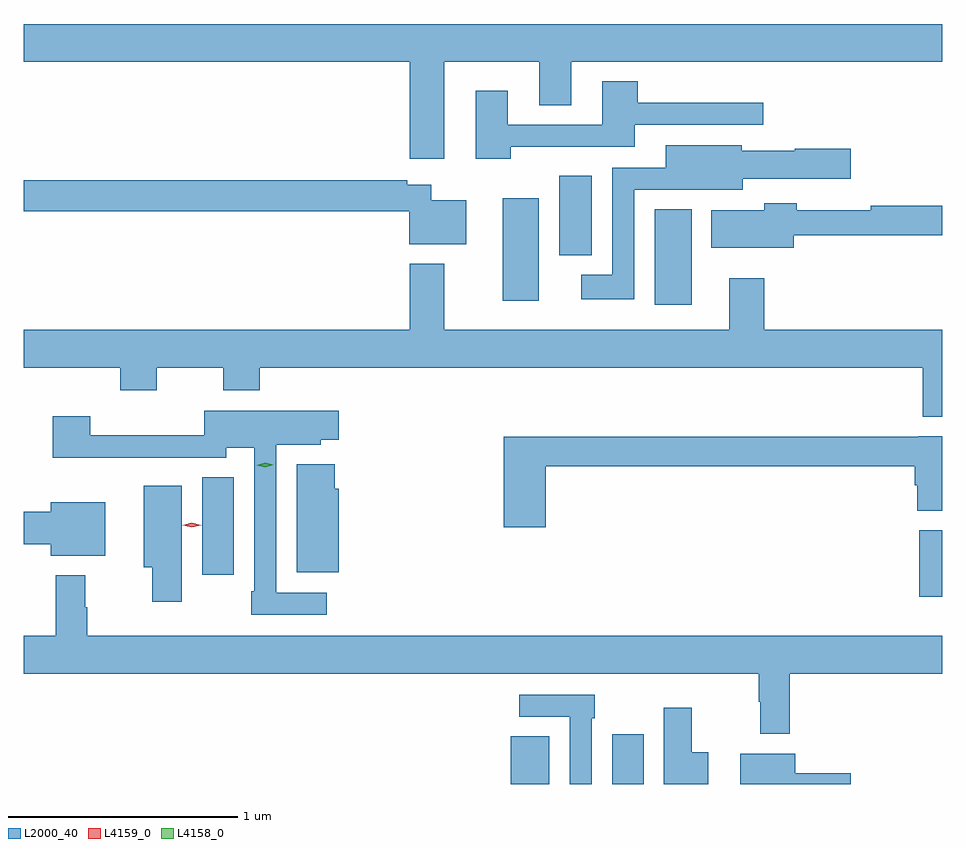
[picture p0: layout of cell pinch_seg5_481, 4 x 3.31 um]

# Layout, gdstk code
import gdstk
lib = gdstk.Library(unit=1e-6, precision=1e-09)
def R(c, l, rs):  # rectangles x0, y0, x1, y1
    for r in rs: c.add(gdstk.rectangle(r[:2], r[2:], *l))
def P(c, l, *ps):  # polygons
    for p in ps: c.add(gdstk.Polygon(p, *l))
L2000_40 = (2000, 40)
L4158_0 = (4158, 0)
L4159_0 = (4159, 0)

pinch_seg5_481 = lib.new_cell('pinch_seg5_481')
R(pinch_seg5_481, L2000_40, [(891.746,841.627,891.913,841.835), (892.187,841.627,892.324,841.843), (893.525,842.442,893.625,842.731), (890.402,842.538,890.539,842.963), (892.373,843.714,892.534,844.129), (891.71,843.732,891.868,844.177), (891.956,843.929,892.099,844.276)])
P(pinch_seg5_481, L2000_40, [(891.457,844.772),(891.869,844.772),(891.869,844.582),(892.009,844.582),(892.009,844.772),(893.625,844.772),(893.625,844.936),(889.625,844.936),(889.625,844.772),(891.305,844.772),(891.305,844.35),(891.457,844.35)],
  [(891.746,844.401),(892.285,844.401),(892.285,844.497),(892.846,844.497),(892.846,844.594),(892.298,844.594),(892.298,844.687),(892.145,844.687),(892.145,844.497),(891.733,844.497),(891.733,844.645),(891.593,844.645),(891.593,844.35),(891.746,844.35)],
  [(892.284,844.215),(892.53,844.215),(892.53,844.214),(892.756,844.214),(892.756,844.262),(893.227,844.262),(893.227,844.392),(892.983,844.392),(892.983,844.384),(892.752,844.384),(892.752,844.408),(892.421,844.408),(892.421,844.311),(892.188,844.311),(892.188,843.844),(892.053,843.844),(892.053,843.737),(892.284,843.737)],
  [(891.553,844.168),(891.399,844.168),(891.399,844.236),(891.296,844.236),(891.296,844.256),(889.625,844.256),(889.625,844.12),(891.303,844.12),(891.303,843.977),(891.553,843.977)],
  [(892.978,844.017),(893.625,844.017),(893.625,844.145),(893.314,844.145),(893.314,844.126),(892.991,844.126),(892.991,844.156),(892.849,844.156),(892.849,844.126),(892.619,844.126),(892.619,843.962),(892.978,843.962)],
  [(893.625,843.604),(892.85,843.604),(892.85,843.829),(892.697,843.829),(892.697,843.604),(891.457,843.604),(891.457,843.892),(891.305,843.892),(891.305,843.604),(889.625,843.604),(889.625,843.44),(890.045,843.44),(890.045,843.341),(890.205,843.341),(890.205,843.44),(890.494,843.44),(890.494,843.341),(890.654,843.341),(890.654,843.44),(893.539,843.44),(893.539,843.227),(893.625,843.227)],
  [(890.944,842.46),(890.724,842.46),(890.724,843.104),(890.919,843.104),(890.919,843.125),(890.998,843.125),(890.998,843.253),(890.412,843.253),(890.412,843.146),(889.916,843.146),(889.916,843.229),(889.751,843.229),(889.751,843.047),(889.999,843.047),(889.999,843.048),(890.508,843.048),(890.508,843.092),(890.628,843.092),(890.628,842.467),(890.616,842.467),(890.616,842.364),(890.944,842.364)],
  [(891.899,843.01),(893.504,843.01),(893.504,842.927),(893.516,842.927),(893.516,842.816),(893.625,842.816),(893.625,843.142),(893.52,843.142),(893.52,843.139),(891.716,843.139),(891.716,842.745),(891.899,842.745)],
  [(890.998,842.913),(890.98,842.913),(890.98,843.019),(890.813,843.019),(890.813,842.549),(890.998,842.549)],
  [(890.314,842.926),(890.147,842.926),(890.147,842.57),(890.185,842.57),(890.185,842.421),(890.314,842.421)],
  [(889.981,842.854),(889.742,842.854),(889.742,842.813),(889.625,842.813),(889.625,842.671),(889.742,842.671),(889.742,842.621),(889.981,842.621)],
  [(892.961,842.108),(893.625,842.108),(893.625,842.272),(889.901,842.272),(889.901,842.396),(889.894,842.396),(889.894,842.536),(889.765,842.536),(889.765,842.272),(889.625,842.272),(889.625,842.108),(892.825,842.108),(892.825,841.985),(892.833,841.985),(892.833,841.845),(892.961,841.845)],
  [(892.098,841.913),(892.111,841.913),(892.111,842.016),(891.783,842.016),(891.783,841.92),(892.002,841.92),(892.002,841.627),(892.098,841.627)],
  [(892.606,841.765),(892.534,841.765),(892.534,841.96),(892.412,841.96),(892.412,841.627),(892.606,841.627)],
  [(893.227,841.674),(892.984,841.674),(892.984,841.759),(892.745,841.759),(892.745,841.627),(893.227,841.627)])
P(pinch_seg5_481, L4158_0, [(890.676,843.006),(890.641,843.015),(890.641,843.015),(890.641,843.015),(890.676,843.026),(890.711,843.017),(890.711,843.016),(890.711,843.016)])
P(pinch_seg5_481, L4159_0, [(890.358,842.744),(890.318,842.753),(890.317,842.754),(890.318,842.754),(890.358,842.764),(890.399,842.754),(890.399,842.754),(890.399,842.753)])

lib.write_gds('pinch_seg5_481.gds')
